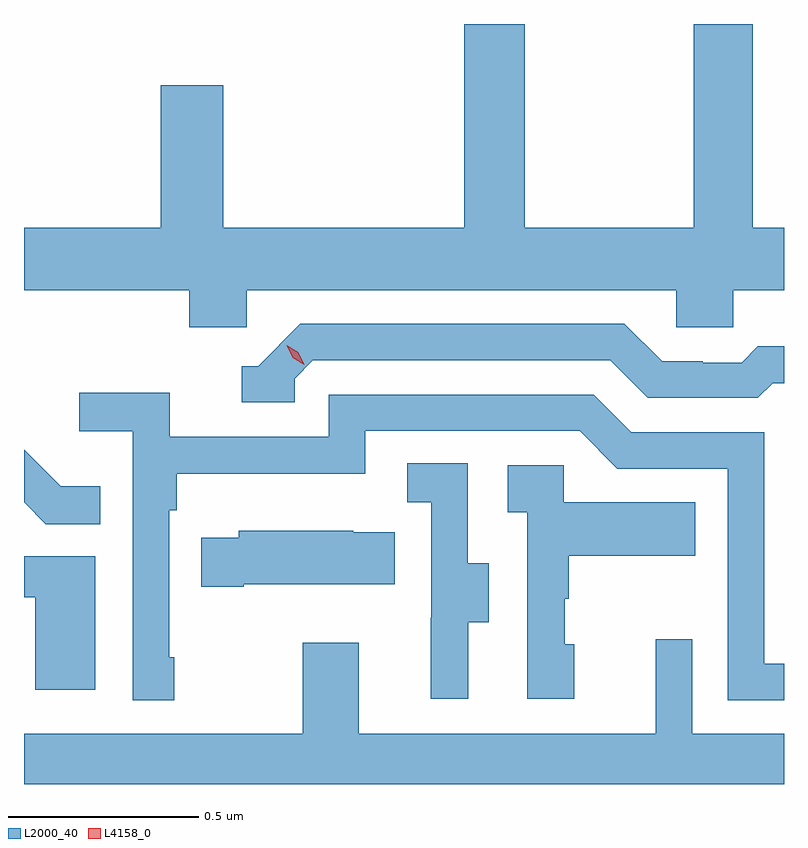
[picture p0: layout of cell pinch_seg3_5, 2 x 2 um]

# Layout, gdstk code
import gdstk
lib = gdstk.Library(unit=1e-6, precision=1e-09)
def P(c, l, *ps):  # polygons
    for p in ps: c.add(gdstk.Polygon(p, *l))
L2000_40 = (2000, 40)
L4158_0 = (4158, 0)

pinch_seg3_5 = lib.new_cell('pinch_seg3_5')
P(pinch_seg3_5, L2000_40, [(1142.256,732.884),(1143.387,732.884),(1143.387,732.786),(1143.537,732.786),(1143.537,732.884),(1143.67,732.884),(1143.67,733.048),(1143.588,733.048),(1143.588,733.584),(1143.433,733.584),(1143.433,733.048),(1142.988,733.048),(1142.988,733.584),(1142.828,733.584),(1142.828,733.048),(1142.194,733.048),(1142.194,733.423),(1142.03,733.423),(1142.03,733.048),(1141.67,733.048),(1141.67,732.884),(1142.105,732.884),(1142.105,732.786),(1142.256,732.786)],
  [(1142.382,732.651),(1142.43,732.699),(1143.213,732.699),(1143.312,732.6),(1143.601,732.6),(1143.64,732.639),(1143.67,732.639),(1143.67,732.736),(1143.601,732.736),(1143.559,732.693),(1143.456,732.693),(1143.456,732.696),(1143.349,732.696),(1143.25,732.795),(1142.397,732.795),(1142.286,732.684),(1142.243,732.684),(1142.243,732.588),(1142.382,732.588)],
  [(1142.065,731.917),(1142.052,731.917),(1142.052,732.305),(1142.072,732.305),(1142.072,732.401),(1142.568,732.401),(1142.568,732.513),(1143.132,732.513),(1143.231,732.414),(1143.522,732.414),(1143.522,731.805),(1143.67,731.805),(1143.67,731.901),(1143.618,731.901),(1143.618,732.51),(1143.268,732.51),(1143.169,732.609),(1142.472,732.609),(1142.472,732.498),(1142.054,732.498),(1142.054,732.614),(1141.815,732.614),(1141.815,732.512),(1141.956,732.512),(1141.956,731.805),(1142.065,731.805)],
  [(1141.871,732.367),(1141.767,732.367),(1141.67,732.464),(1141.67,732.325),(1141.727,732.268),(1141.871,732.268)],
  [(1142.839,732.01),(1142.893,732.01),(1142.893,732.165),(1142.838,732.165),(1142.838,732.428),(1142.679,732.428),(1142.679,732.325),(1142.742,732.325),(1142.742,732.021),(1142.741,732.021),(1142.741,731.808),(1142.839,731.808)],
  [(1143.118,731.952),(1143.093,731.952),(1143.093,732.071),(1143.103,732.071),(1143.103,732.185),(1143.437,732.185),(1143.437,732.325),(1143.09,732.325),(1143.09,732.423),(1142.943,732.423),(1142.943,732.299),(1142.994,732.299),(1142.994,731.808),(1143.118,731.808)],
  [(1142.248,732.11),(1142.645,732.11),(1142.645,732.247),(1142.537,732.247),(1142.537,732.25),(1142.235,732.25),(1142.235,732.232),(1142.137,732.232),(1142.137,732.103),(1142.248,732.103)],
  [(1141.858,732.183),(1141.67,732.183),(1141.67,732.075),(1141.7,732.075),(1141.7,731.832),(1141.858,731.832)],
  [(1143.67,731.716),(1143.429,731.716),(1143.429,731.965),(1143.332,731.965),(1143.332,731.716),(1142.551,731.716),(1142.551,731.956),(1142.404,731.956),(1142.404,731.716),(1141.67,731.716),(1141.67,731.584),(1143.67,731.584)])
P(pinch_seg3_5, L4158_0, [(1142.408,732.687),(1142.377,732.706),(1142.361,732.739),(1142.361,732.739),(1142.362,732.739),(1142.392,732.72),(1142.408,732.687),(1142.408,732.687)])

lib.write_gds('pinch_seg3_5.gds')
